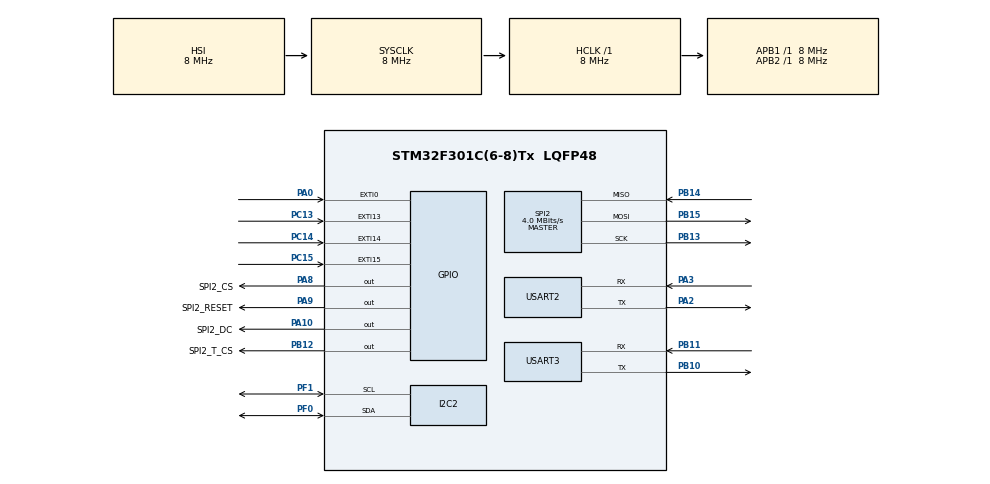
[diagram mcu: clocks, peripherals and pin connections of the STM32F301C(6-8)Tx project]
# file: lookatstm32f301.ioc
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Dma.Request0=SPI2_TX
Dma.SPI2_TX.0.Direction=DMA_MEMORY_TO_PERIPH
Dma.SPI2_TX.0.Instance=DMA1_Channel5
Dma.SPI2_TX.0.MemDataAlignment=DMA_MDATAALIGN_BYTE
Dma.SPI2_TX.0.MemInc=DMA_MINC_ENABLE
Dma.SPI2_TX.0.Mode=DMA_NORMAL
Dma.SPI2_TX.0.PeriphDataAlignment=DMA_PDATAALIGN_BYTE
Dma.SPI2_TX.0.PeriphInc=DMA_PINC_DISABLE
Dma.SPI2_TX.0.Priority=DMA_PRIORITY_LOW
Mcu.Family=STM32F3
Mcu.Name=STM32F301C(6-8)Tx
Mcu.Package=LQFP48
NVIC.DMA1_Channel5_IRQn=true\:0\:0\:false\:false\:true\:false\:true\:true
NVIC.PriorityGroup=NVIC_PRIORITYGROUP_4
NVIC.SPI2_IRQn=true\:0\:0\:false\:false\:true\:true\:true\:true
PA0.GPIO_ModeDefaultEXTI=GPIO_MODE_IT_FALLING
PA0.GPIO_PuPd=GPIO_PULLUP
PA0.Signal=GPXTI0
PA10.GPIO_Label=SPI2_DC
PA10.Signal=GPIO_Output
PA13.Mode=Trace_Asynchronous_SW
PA13.Signal=SYS_JTMS-SWDIO
PA14.Mode=Trace_Asynchronous_SW
PA14.Signal=SYS_JTCK-SWCLK
PA2.Mode=Asynchronous
PA2.Signal=USART2_TX
PA3.Mode=Asynchronous
PA3.Signal=USART2_RX
PA8.GPIO_Label=SPI2_CS
PA8.Signal=GPIO_Output
PA9.GPIO_Label=SPI2_RESET
PA9.Signal=GPIO_Output
PB10.Mode=Asynchronous
PB10.Signal=USART3_TX
PB11.Mode=Asynchronous
PB11.Signal=USART3_RX
PB12.GPIO_Label=SPI2_T_CS
PB12.Signal=GPIO_Output
PB13.Mode=Full_Duplex_Master
PB13.Signal=SPI2_SCK
PB14.Mode=Full_Duplex_Master
PB14.Signal=SPI2_MISO
PB15.Mode=Full_Duplex_Master
PB15.Signal=SPI2_MOSI
PB3.Mode=Trace_Asynchronous_SW
PB3.Signal=SYS_JTDO-TRACESWO
PC13.GPIO_ModeDefaultEXTI=GPIO_MODE_IT_FALLING
PC13.GPIO_PuPd=GPIO_PULLUP
PC13.Signal=GPXTI13
PC14\ -\ OSC32_IN.GPIO_ModeDefaultEXTI=GPIO_MODE_IT_FALLING
PC14\ -\ OSC32_IN.GPIO_PuPd=GPIO_PULLUP
PC14\ -\ OSC32_IN.Signal=GPXTI14
PC15\ -\ OSC32_OUT.GPIO_ModeDefaultEXTI=GPIO_MODE_IT_FALLING
PC15\ -\ OSC32_OUT.GPIO_PuPd=GPIO_PULLUP
PC15\ -\ OSC32_OUT.Signal=GPXTI15
PF0-OSC_IN.Mode=I2C
PF0-OSC_IN.Signal=I2C2_SDA
PF1-OSC_OUT.Mode=I2C
PF1-OSC_OUT.Signal=I2C2_SCL
ProjectManager.HeapSize=0x200
ProjectManager.StackSize=0x400
ProjectManager.TargetToolchain=STM32CubeIDE
RCC.AHBFreq_Value=8000000
RCC.APB1Freq_Value=8000000
RCC.APB2Freq_Value=8000000
RCC.CortexFreq_Value=8000000
RCC.HSE_VALUE=8000000
RCC.HSI_VALUE=8000000
RCC.LSE_VALUE=32768
RCC.SYSCLKFreq_VALUE=8000000
SPI2.CalculateBaudRate=4.0 MBits/s
SPI2.Direction=SPI_DIRECTION_2LINES
SPI2.Mode=SPI_MODE_MASTER
SPI2.VirtualType=VM_MASTER
USART2.VirtualMode-Asynchronous=VM_ASYNC
USART3.VirtualMode-Asynchronous=VM_ASYNC
board=custom

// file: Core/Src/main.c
/* USER CODE BEGIN Header */
/**
  ******************************************************************************
  * @file           : main.c
  * @brief          : Main program body
  ******************************************************************************
  * @attention
  *
  * Copyright (c) 2023 STMicroelectronics.
  * All rights reserved.
  *
  * This software is licensed under terms that can be found in the LICENSE file
  * in the root directory of this software component.
  * If no LICENSE file comes with this software, it is provided AS-IS.
  *
  ******************************************************************************
  */
/* USER CODE END Header */
#include "main.h"

I2C_HandleTypeDef hi2c2;

SPI_HandleTypeDef hspi2;
DMA_HandleTypeDef hdma_spi2_tx;

UART_HandleTypeDef huart2;
UART_HandleTypeDef huart3;

void SystemClock_Config(void);
static void MX_GPIO_Init(void);
static void MX_DMA_Init(void);
static void MX_I2C2_Init(void);
static void MX_SPI2_Init(void);
static void MX_USART2_UART_Init(void);
static void MX_USART3_UART_Init(void);

/* USER CODE BEGIN 0 */
#include <errno.h>
#include <sys/stat.h>
#include <sys/times.h>
#include <sys/unistd.h>
int _write(int file, char *ptr, int len) {
    HAL_StatusTypeDef xStatus;
    switch (file) {
    case STDOUT_FILENO: /*stdout*/
		xStatus = HAL_UART_Transmit(&huart3, (uint8_t*)ptr, len, HAL_MAX_DELAY);
		if (xStatus != HAL_OK) {
			errno = EIO;
			return -1;
		}
        break;
    case STDERR_FILENO: /* stderr */
		xStatus = HAL_UART_Transmit(&huart3, (uint8_t*)ptr, len, HAL_MAX_DELAY);
		if (xStatus != HAL_OK) {
			errno = EIO;
			return -1;
		}
        break;
    default:
        errno = EBADF;
        return -1;
    }
    return len;
}
/* USER CODE END 0 */

int main(void)
{

  /* MCU Configuration--------------------------------------------------------*/

  /* Reset of all peripherals, Initializes the Flash interface and the Systick. */
  HAL_Init();

  /* Configure the system clock */
  SystemClock_Config();

  /* Initialize all configured peripherals */
  MX_GPIO_Init();
  MX_DMA_Init();
  MX_I2C2_Init();
  MX_SPI2_Init();
  MX_USART2_UART_Init();
  MX_USART3_UART_Init();

  /* Infinite loop */
  while (1)
  {

    /* USER CODE BEGIN 3 */
	  HAL_Delay(1000);
	  printf("boop i'm here\n\r");
  }
  /* USER CODE END 3 */
}

void SystemClock_Config(void)
{
  RCC_OscInitTypeDef RCC_OscInitStruct = {0};
  RCC_ClkInitTypeDef RCC_ClkInitStruct = {0};
  RCC_PeriphCLKInitTypeDef PeriphClkInit = {0};

  /** Initializes the RCC Oscillators according to the specified parameters
  * in the RCC_OscInitTypeDef structure.
  */
  RCC_OscInitStruct.OscillatorType = RCC_OSCILLATORTYPE_HSI;
  RCC_OscInitStruct.HSIState = RCC_HSI_ON;
  RCC_OscInitStruct.HSICalibrationValue = RCC_HSICALIBRATION_DEFAULT;
  RCC_OscInitStruct.PLL.PLLState = RCC_PLL_NONE;
  if (HAL_RCC_OscConfig(&RCC_OscInitStruct) != HAL_OK)
  {
    Error_Handler();
  }

  /** Initializes the CPU, AHB and APB buses clocks
  */
  RCC_ClkInitStruct.ClockType = RCC_CLOCKTYPE_HCLK|RCC_CLOCKTYPE_SYSCLK
                              |RCC_CLOCKTYPE_PCLK1|RCC_CLOCKTYPE_PCLK2;
  RCC_ClkInitStruct.SYSCLKSource = RCC_SYSCLKSOURCE_HSI;
  RCC_ClkInitStruct.AHBCLKDivider = RCC_SYSCLK_DIV1;
  RCC_ClkInitStruct.APB1CLKDivider = RCC_HCLK_DIV1;
  RCC_ClkInitStruct.APB2CLKDivider = RCC_HCLK_DIV1;

  if (HAL_RCC_ClockConfig(&RCC_ClkInitStruct, FLASH_LATENCY_0) != HAL_OK)
  {
    Error_Handler();
  }
  PeriphClkInit.PeriphClockSelection = RCC_PERIPHCLK_I2C2;
  PeriphClkInit.I2c2ClockSelection = RCC_I2C2CLKSOURCE_HSI;
  if (HAL_RCCEx_PeriphCLKConfig(&PeriphClkInit) != HAL_OK)
  {
    Error_Handler();
  }
}

static void MX_I2C2_Init(void)
{

  hi2c2.Instance = I2C2;
  hi2c2.Init.Timing = 0x2000090E;
  hi2c2.Init.OwnAddress1 = 0;
  hi2c2.Init.AddressingMode = I2C_ADDRESSINGMODE_7BIT;
  hi2c2.Init.DualAddressMode = I2C_DUALADDRESS_DISABLE;
  hi2c2.Init.OwnAddress2 = 0;
  hi2c2.Init.OwnAddress2Masks = I2C_OA2_NOMASK;
  hi2c2.Init.GeneralCallMode = I2C_GENERALCALL_DISABLE;
  hi2c2.Init.NoStretchMode = I2C_NOSTRETCH_DISABLE;
  if (HAL_I2C_Init(&hi2c2) != HAL_OK)
  {
    Error_Handler();
  }

  /** Configure Analogue filter
  */
  if (HAL_I2CEx_ConfigAnalogFilter(&hi2c2, I2C_ANALOGFILTER_ENABLE) != HAL_OK)
  {
    Error_Handler();
  }

  /** Configure Digital filter
  */
  if (HAL_I2CEx_ConfigDigitalFilter(&hi2c2, 0) != HAL_OK)
  {
    Error_Handler();
  }

}

static void MX_SPI2_Init(void)
{

  /* SPI2 parameter configuration*/
  hspi2.Instance = SPI2;
  hspi2.Init.Mode = SPI_MODE_MASTER;
  hspi2.Init.Direction = SPI_DIRECTION_2LINES;
  hspi2.Init.DataSize = SPI_DATASIZE_4BIT;
  hspi2.Init.CLKPolarity = SPI_POLARITY_LOW;
  hspi2.Init.CLKPhase = SPI_PHASE_1EDGE;
  hspi2.Init.NSS = SPI_NSS_SOFT;
  hspi2.Init.BaudRatePrescaler = SPI_BAUDRATEPRESCALER_2;
  hspi2.Init.FirstBit = SPI_FIRSTBIT_MSB;
  hspi2.Init.TIMode = SPI_TIMODE_DISABLE;
  hspi2.Init.CRCCalculation = SPI_CRCCALCULATION_DISABLE;
  hspi2.Init.CRCPolynomial = 7;
  hspi2.Init.CRCLength = SPI_CRC_LENGTH_DATASIZE;
  hspi2.Init.NSSPMode = SPI_NSS_PULSE_ENABLE;
  if (HAL_SPI_Init(&hspi2) != HAL_OK)
  {
    Error_Handler();
  }

}

static void MX_USART2_UART_Init(void)
{

  huart2.Instance = USART2;
  huart2.Init.BaudRate = 38400;
  huart2.Init.WordLength = UART_WORDLENGTH_8B;
  huart2.Init.StopBits = UART_STOPBITS_1;
  huart2.Init.Parity = UART_PARITY_NONE;
  huart2.Init.Mode = UART_MODE_TX_RX;
  huart2.Init.HwFlowCtl = UART_HWCONTROL_NONE;
  huart2.Init.OverSampling = UART_OVERSAMPLING_16;
  huart2.Init.OneBitSampling = UART_ONE_BIT_SAMPLE_DISABLE;
  huart2.AdvancedInit.AdvFeatureInit = UART_ADVFEATURE_NO_INIT;
  if (HAL_UART_Init(&huart2) != HAL_OK)
  {
    Error_Handler();
  }

}

static void MX_USART3_UART_Init(void)
{

  huart3.Instance = USART3;
  huart3.Init.BaudRate = 38400;
  huart3.Init.WordLength = UART_WORDLENGTH_8B;
  huart3.Init.StopBits = UART_STOPBITS_1;
  huart3.Init.Parity = UART_PARITY_NONE;
  huart3.Init.Mode = UART_MODE_TX_RX;
  huart3.Init.HwFlowCtl = UART_HWCONTROL_NONE;
  huart3.Init.OverSampling = UART_OVERSAMPLING_16;
  huart3.Init.OneBitSampling = UART_ONE_BIT_SAMPLE_DISABLE;
  huart3.AdvancedInit.AdvFeatureInit = UART_ADVFEATURE_NO_INIT;
  if (HAL_UART_Init(&huart3) != HAL_OK)
  {
    Error_Handler();
  }

}

static void MX_DMA_Init(void)
{

  /* DMA controller clock enable */
  __HAL_RCC_DMA1_CLK_ENABLE();

  /* DMA interrupt init */
  /* DMA1_Channel5_IRQn interrupt configuration */
  HAL_NVIC_SetPriority(DMA1_Channel5_IRQn, 0, 0);
  HAL_NVIC_EnableIRQ(DMA1_Channel5_IRQn);

}

static void MX_GPIO_Init(void)
{
  GPIO_InitTypeDef GPIO_InitStruct = {0};

  /* GPIO Ports Clock Enable */
  __HAL_RCC_GPIOC_CLK_ENABLE();
  __HAL_RCC_GPIOF_CLK_ENABLE();
  __HAL_RCC_GPIOA_CLK_ENABLE();
  __HAL_RCC_GPIOB_CLK_ENABLE();

  /*Configure GPIO pin Output Level */
  HAL_GPIO_WritePin(SPI2_T_CS_GPIO_Port, SPI2_T_CS_Pin, GPIO_PIN_RESET);

  /*Configure GPIO pin Output Level */
  HAL_GPIO_WritePin(GPIOA, SPI2_CS_Pin|SPI2_RESET_Pin|SPI2_DC_Pin, GPIO_PIN_RESET);

  /*Configure GPIO pins : PC13 PC14 PC15 */
  GPIO_InitStruct.Pin = GPIO_PIN_13|GPIO_PIN_14|GPIO_PIN_15;
  GPIO_InitStruct.Mode = GPIO_MODE_IT_FALLING;
  GPIO_InitStruct.Pull = GPIO_PULLUP;
  HAL_GPIO_Init(GPIOC, &GPIO_InitStruct);

  /*Configure GPIO pin : PA0 */
  GPIO_InitStruct.Pin = GPIO_PIN_0;
  GPIO_InitStruct.Mode = GPIO_MODE_IT_FALLING;
  GPIO_InitStruct.Pull = GPIO_PULLUP;
  HAL_GPIO_Init(GPIOA, &GPIO_InitStruct);

  /*Configure GPIO pin : SPI2_T_CS_Pin */
  GPIO_InitStruct.Pin = SPI2_T_CS_Pin;
  GPIO_InitStruct.Mode = GPIO_MODE_OUTPUT_PP;
  GPIO_InitStruct.Pull = GPIO_NOPULL;
  GPIO_InitStruct.Speed = GPIO_SPEED_FREQ_LOW;
  HAL_GPIO_Init(SPI2_T_CS_GPIO_Port, &GPIO_InitStruct);

  /*Configure GPIO pins : SPI2_CS_Pin SPI2_RESET_Pin SPI2_DC_Pin */
  GPIO_InitStruct.Pin = SPI2_CS_Pin|SPI2_RESET_Pin|SPI2_DC_Pin;
  GPIO_InitStruct.Mode = GPIO_MODE_OUTPUT_PP;
  GPIO_InitStruct.Pull = GPIO_NOPULL;
  GPIO_InitStruct.Speed = GPIO_SPEED_FREQ_LOW;
  HAL_GPIO_Init(GPIOA, &GPIO_InitStruct);

}

void Error_Handler(void)
{
  __disable_irq();
  while (1)
  {
  }
}
